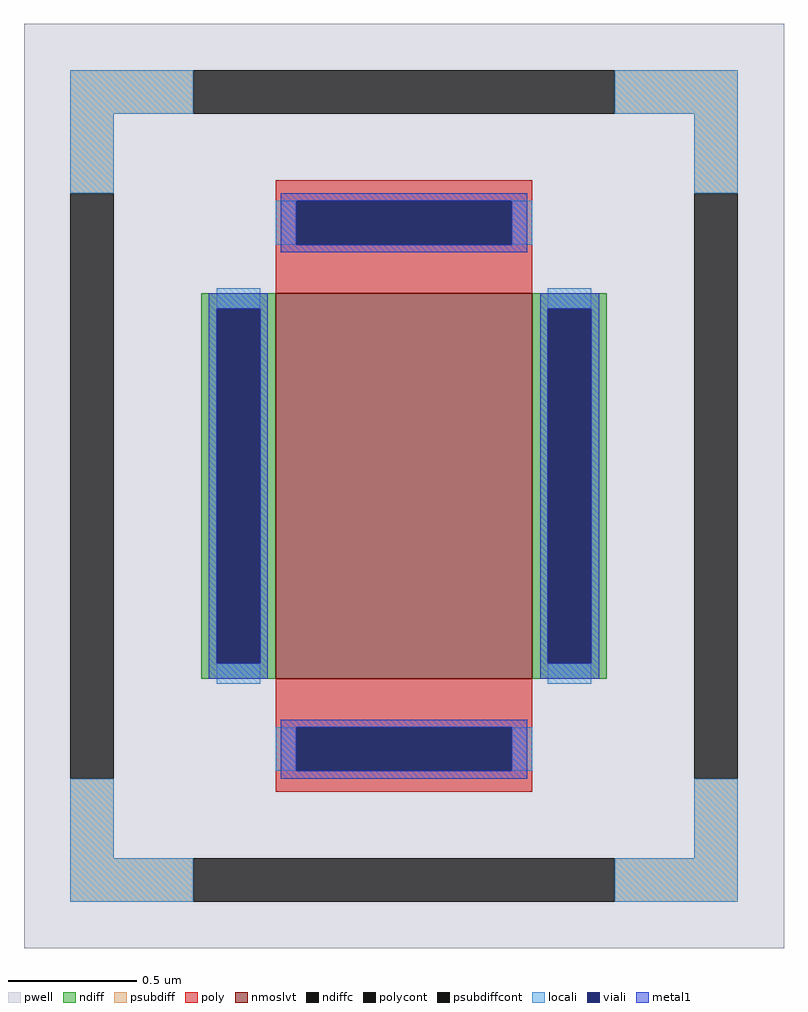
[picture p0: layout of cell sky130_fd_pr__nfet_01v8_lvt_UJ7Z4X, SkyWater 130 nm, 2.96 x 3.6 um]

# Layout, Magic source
magic
tech sky130A
<< pwell >>
rect -148 -180 148 180
<< nmoslvt >>
rect -50 -75 50 75
<< ndiff >>
rect -79 69 -50 75
rect -79 -69 -73 69
rect -56 -69 -50 69
rect -79 -75 -50 -69
rect 50 69 79 75
rect 50 -69 56 69
rect 73 -69 79 69
rect 50 -75 79 -69
<< ndiffc >>
rect -73 -69 -56 69
rect 56 -69 73 69
<< psubdiff >>
rect -130 145 -82 162
rect 82 145 130 162
rect -130 114 -113 145
rect 113 114 130 145
rect -130 -145 -113 -114
rect 113 -145 130 -114
rect -130 -162 -82 -145
rect 82 -162 130 -145
<< psubdiffcont >>
rect -82 145 82 162
rect -130 -114 -113 114
rect 113 -114 130 114
rect -82 -162 82 -145
<< poly >>
rect -50 111 50 119
rect -50 94 -42 111
rect 42 94 50 111
rect -50 75 50 94
rect -50 -94 50 -75
rect -50 -111 -42 -94
rect 42 -111 50 -94
rect -50 -119 50 -111
<< polycont >>
rect -42 94 42 111
rect -42 -111 42 -94
<< locali >>
rect -130 145 -82 162
rect 82 145 130 162
rect -130 114 -113 145
rect 113 114 130 145
rect -50 94 -42 111
rect 42 94 50 111
rect -73 69 -56 77
rect -73 -77 -56 -69
rect 56 69 73 77
rect 56 -77 73 -69
rect -50 -111 -42 -94
rect 42 -111 50 -94
rect -130 -145 -113 -114
rect 113 -145 130 -114
rect -130 -162 -82 -145
rect 82 -162 130 -145
<< viali >>
rect -42 94 42 111
rect -73 -69 -56 69
rect 56 -69 73 69
rect -42 -111 42 -94
<< metal1 >>
rect -48 111 48 114
rect -48 94 -42 111
rect 42 94 48 111
rect -48 91 48 94
rect -76 69 -53 75
rect -76 -69 -73 69
rect -56 -69 -53 69
rect -76 -75 -53 -69
rect 53 69 76 75
rect 53 -69 56 69
rect 73 -69 76 69
rect 53 -75 76 -69
rect -48 -94 48 -91
rect -48 -111 -42 -94
rect 42 -111 48 -94
rect -48 -114 48 -111
<< properties >>
string FIXED_BBOX -121 -153 121 153
string gencell sky130_fd_pr__nfet_01v8_lvt
string library sky130
string parameters w 1.5 l 1.0 m 1 nf 1 diffcov 100 polycov 100 guard 1 glc 1 grc 1 gtc 1 gbc 1 tbcov 100 rlcov 100 topc 1 botc 1 poverlap 0 doverlap 1 lmin 0.15 wmin 0.42 compatible {sky130_fd_pr__nfet_01v8 sky130_fd_pr__nfet_01v8_lvt  sky130_fd_bs_flash__special_sonosfet_star  sky130_fd_pr__nfet_g5v0d10v5 sky130_fd_pr__nfet_05v0_nvt  sky130_fd_pr__nfet_03v3_nvt} full_metal 1 viasrc 100 viadrn 100 viagate 100 viagb 0 viagr 0 viagl 0 viagt 0
<< end >>
